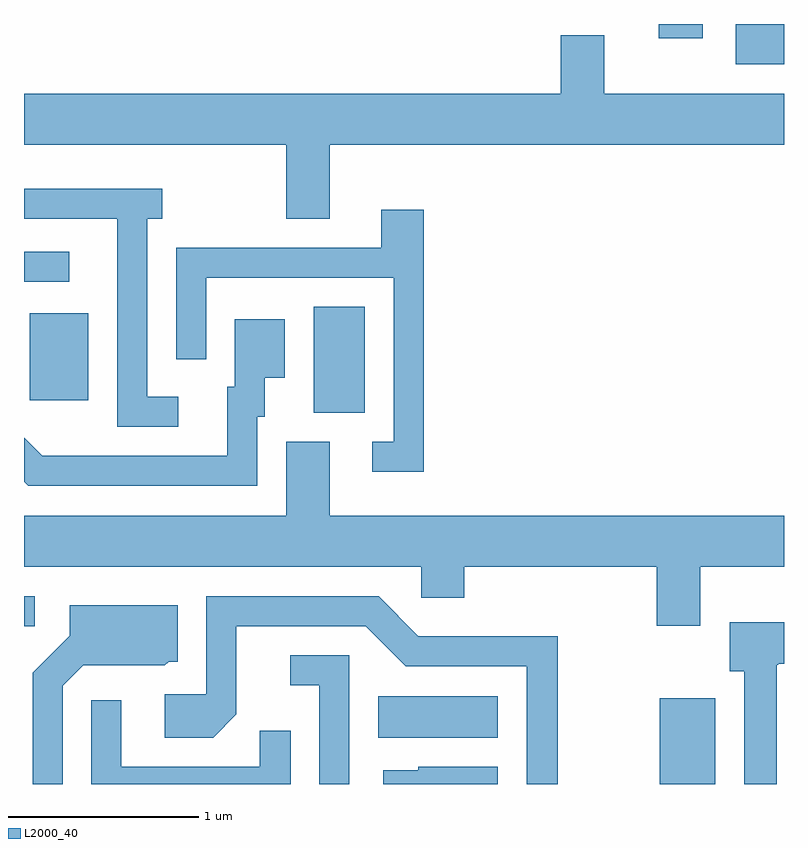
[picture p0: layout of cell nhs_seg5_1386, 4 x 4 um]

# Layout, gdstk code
import gdstk
lib = gdstk.Library(unit=1e-6, precision=1e-09)
def R(c, l, rs):  # rectangles x0, y0, x1, y1
    for r in rs: c.add(gdstk.rectangle(r[:2], r[2:], *l))
def P(c, l, *ps):  # polygons
    for p in ps: c.add(gdstk.Polygon(p, *l))
L2000_40 = (2000, 40)

nhs_seg5_1386 = lib.new_cell('nhs_seg5_1386')
R(nhs_seg5_1386, L2000_40, [(228.956,1480.072,229.249,1480.524), (227.476,1480.316,228.104,1480.534), (225.611,1480.901,225.668,1481.059), (227.136,1482.026,227.404,1482.584), (225.641,1482.091,225.949,1482.549), (225.611,1482.716,225.848,1482.874), (229.356,1483.861,229.611,1484.072), (228.951,1483.996,229.184,1484.072)])
P(nhs_seg5_1386, L2000_40, [(227.219,1483.436),(229.611,1483.436),(229.611,1483.704),(228.664,1483.704),(228.664,1484.014),(228.436,1484.014),(228.436,1483.704),(225.611,1483.704),(225.611,1483.436),(226.991,1483.436),(226.991,1483.046),(227.219,1483.046)],
  [(226.423,1482.109),(226.259,1482.109),(226.259,1483.046),(226.338,1483.046),(226.338,1483.204),(225.611,1483.204),(225.611,1483.046),(226.101,1483.046),(226.101,1481.951),(226.423,1481.951)],
  [(227.714,1483.094),(227.491,1483.094),(227.491,1482.894),(226.411,1482.894),(226.411,1482.308),(226.569,1482.308),(226.569,1482.736),(227.556,1482.736),(227.556,1481.874),(227.443,1481.874),(227.443,1481.716),(227.714,1481.716)],
  [(226.839,1482.006),(226.879,1482.006),(226.879,1482.211),(226.984,1482.211),(226.984,1482.519),(226.721,1482.519),(226.721,1482.164),(226.681,1482.164),(226.681,1481.799),(225.707,1481.799),(225.611,1481.895),(225.611,1481.664),(225.634,1481.641),(226.839,1481.641)],
  [(227.219,1481.874),(226.991,1481.874),(226.991,1481.484),(225.611,1481.484),(225.611,1481.216),(227.701,1481.216),(227.701,1481.051),(227.929,1481.051),(227.929,1481.216),(228.941,1481.216),(228.941,1480.906),(229.169,1480.906),(229.169,1481.216),(229.611,1481.216),(229.611,1481.484),(227.219,1481.484)],
  [(228.419,1480.849),(227.687,1480.849),(227.477,1481.059),(226.571,1481.059),(226.571,1480.544),(226.351,1480.544),(226.351,1480.316),(226.607,1480.316),(226.729,1480.439),(226.729,1480.901),(227.409,1480.901),(227.619,1480.691),(228.256,1480.691),(228.256,1480.072),(228.419,1480.072)],
  [(225.814,1480.589),(225.922,1480.696),(226.352,1480.696),(226.372,1480.716),(226.419,1480.716),(226.419,1481.014),(225.851,1481.014),(225.851,1480.852),(225.656,1480.657),(225.656,1480.072),(225.814,1480.072)],
  [(229.574,1480.7),(229.58,1480.7),(229.58,1480.706),(229.611,1480.706),(229.611,1480.924),(229.326,1480.924),(229.326,1480.666),(229.401,1480.666),(229.401,1480.072),(229.574,1480.072)],
  [(227.324,1480.749),(227.013,1480.749),(227.013,1480.591),(227.166,1480.591),(227.166,1480.072),(227.324,1480.072)],
  [(227.014,1480.353),(226.851,1480.353),(226.851,1480.164),(226.124,1480.164),(226.124,1480.513),(225.966,1480.513),(225.966,1480.072),(227.014,1480.072)],
  [(228.104,1480.164),(227.686,1480.164),(227.686,1480.144),(227.501,1480.144),(227.501,1480.072),(228.104,1480.072)])

lib.write_gds('nhs_seg5_1386.gds')
